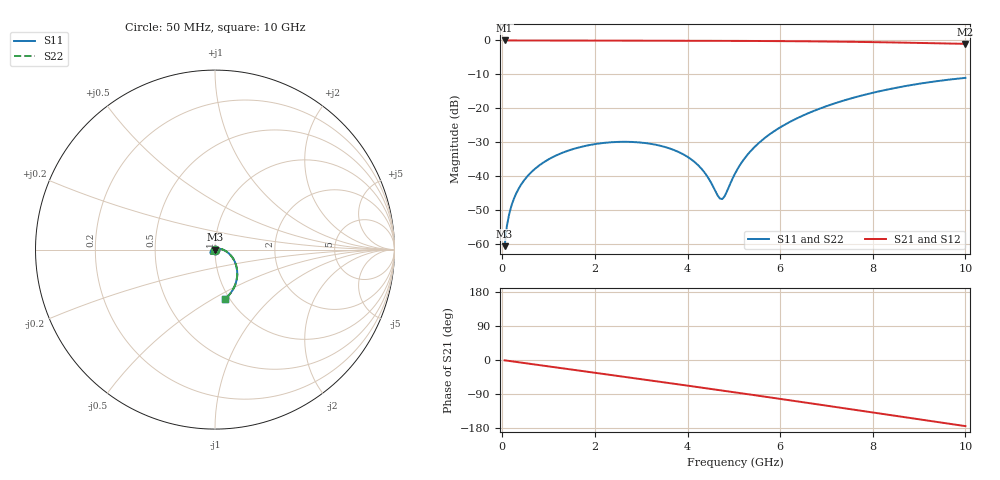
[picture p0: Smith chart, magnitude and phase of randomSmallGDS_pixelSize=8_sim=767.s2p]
! freq	dB(S11)	phase(S11)	dB(S12)	phase(S12)
!  dB(S21)	phase(S21)	dB(S22)	phase(S22)
!S-par simulation data
#  GHz  S  DB  R 50
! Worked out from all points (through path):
!   200 points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, 50 MHz to 10 GHz, reference 50 ohm
!   highest |S21| = 0.00 dB at 50 MHz (marker M1); lowest = -1.0 dB at 10 GHz (marker M2)
!   group delay of S21, straight-line fit = 48.5 ps
!   lowest |S11| = -60.6 dB at 50 MHz (marker M3), VSWR 1.00, Z = 50 - j0.0937 ohm
!   |S11| at or under -10 dB: start of sweep to end of sweep
!   |S22| runs from -60.6 to -11.0 dB; largest |S21 - S12| = 0
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0.05  -60.56 -89.1  -0.00 -0.9  -0.00 -0.9  -60.56 -89.1
0.1  -54.55 -90.9  -0.00 -1.7  -0.00 -1.7  -54.55 -91.0
0.2  -48.54 -93.2  -0.00 -3.4  -0.00 -3.4  -48.54 -93.2
0.35  -43.71 -96.2  -0.01 -5.9  -0.01 -5.9  -43.71 -96.2
0.5  -40.67 -99.0  -0.01 -8.5  -0.01 -8.5  -40.67 -99.0
1  -35.00 -108.1  -0.02 -16.9  -0.02 -16.9  -35.00 -108.1
1.75  -31.17 -121.5  -0.04 -29.5  -0.04 -29.5  -31.17 -121.5
2.6  -29.83 -137.0  -0.05 -43.8  -0.05 -43.8  -29.83 -137.0
3.4  -30.96 -152.6  -0.07 -57.4  -0.07 -57.4  -30.96 -152.7
3.85  -33.12 -163.2  -0.08 -65.1  -0.08 -65.1  -33.11 -163.4
4.2  -36.36 -174.9  -0.09 -71.1  -0.09 -71.1  -36.35 -175.1
4.4  -39.49 173.5  -0.10 -74.5  -0.10 -74.5  -39.47 173.2
4.7  -46.56 115.6  -0.11 -79.7  -0.11 -79.7  -46.44 115.3
4.8  -45.88 76.3  -0.11 -81.5  -0.11 -81.5  -45.76 76.6
5.05  -38.57 30.2  -0.13 -85.8  -0.13 -85.8  -38.54 30.5
5.3  -33.55 15.6  -0.14 -90.2  -0.14 -90.2  -33.54 15.8
5.65  -28.91 4.1  -0.16 -96.4  -0.16 -96.4  -28.90 4.3
6.1  -24.80 -6.6  -0.20 -104.3  -0.20 -104.3  -24.79 -6.5
6.7  -20.89 -19.0  -0.27 -115.1  -0.27 -115.1  -20.89 -18.9
8.35  -14.35 -49.9  -0.56 -144.8  -0.56 -144.8  -14.35 -49.8
9.15  -12.44 -64.2  -0.76 -159.3  -0.76 -159.3  -12.43 -64.1
10  -11.02 -79.0  -1.00 -174.5  -1.00 -174.5  -11.01 -78.9
